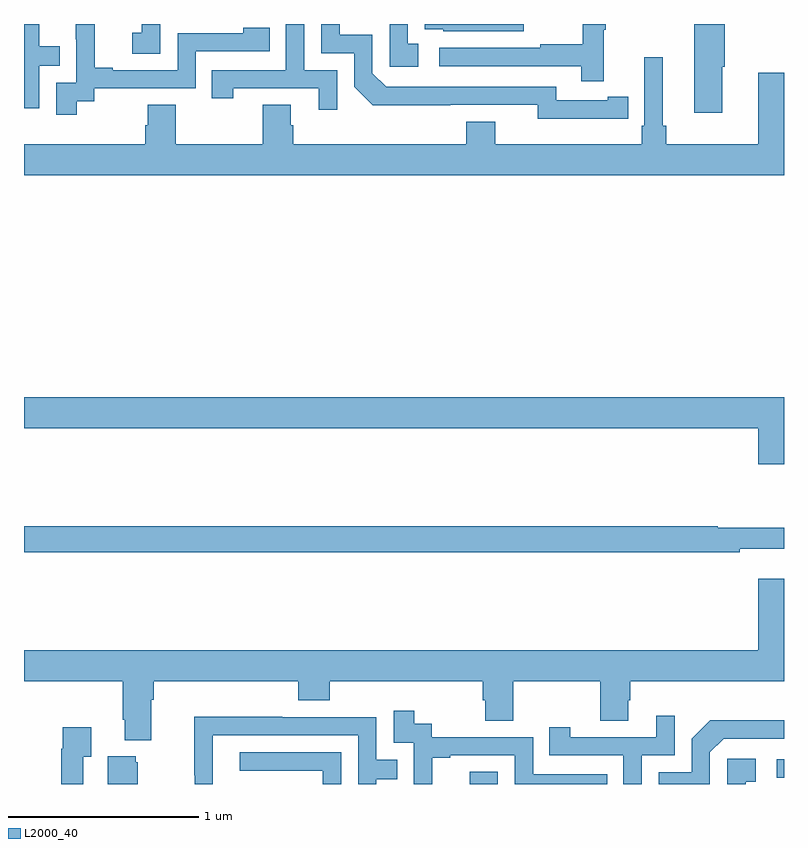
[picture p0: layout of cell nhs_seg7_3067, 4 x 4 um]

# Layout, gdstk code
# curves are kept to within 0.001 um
import gdstk
lib = gdstk.Library(unit=1e-6, precision=1e-09)
def R(c, l, rs):  # rectangles x0, y0, x1, y1
    for r in rs: c.add(gdstk.rectangle(r[:2], r[2:], *l))
def P(c, l, *ps):  # polygons
    for p in ps: c.add(gdstk.Polygon(p, *l))
L2000_40 = (2000, 40)

nhs_seg7_3067 = lib.new_cell('nhs_seg7_3067')
R(nhs_seg7_3067, L2000_40, [(307.347,1076,307.494,1076.065), (308.961,1076.034,309,1076.13)])
P(nhs_seg7_3067, L2000_40, [(308.051,1079.971),(308.062,1079.971),(308.062,1080),(307.941,1080),(307.941,1079.894),(307.717,1079.894),(307.717,1079.874),(307.185,1079.874),(307.185,1079.778),(307.933,1079.778),(307.933,1079.7),(308.051,1079.7)],
  [(308.674,1079.775),(308.687,1079.775),(308.687,1080),(308.528,1080),(308.528,1079.532),(308.674,1079.532)],
  [(307.63,1080),(307.109,1080),(307.109,1079.972),(307.206,1079.972),(307.206,1079.963),(307.63,1079.963)],
  [(305.278,1079.593),(305.37,1079.593),(305.37,1079.661),(305.904,1079.661),(305.904,1079.856),(306.293,1079.856),(306.293,1079.979),(306.153,1079.979),(306.153,1079.952),(305.808,1079.952),(305.808,1079.757),(305.467,1079.757),(305.467,1079.77),(305.372,1079.77),(305.372,1080),(305.273,1080),(305.273,1079.921),(305.274,1079.921),(305.274,1079.691),(305.169,1079.691),(305.169,1079.523),(305.278,1079.523)],
  [(308.072,1079.502),(308.18,1079.502),(308.18,1079.618),(308.072,1079.618),(308.072,1079.598),(307.8,1079.598),(307.8,1079.67),(306.906,1079.67),(306.834,1079.742),(306.834,1079.943),(306.661,1079.943),(306.661,1080),(306.564,1080),(306.564,1079.847),(306.738,1079.847),(306.738,1079.67),(306.836,1079.573),(307.704,1079.574),(307.704,1079.501)],
  [(306.648,1079.757),(306.474,1079.757),(306.474,1080),(306.378,1080),(306.378,1079.757),(305.989,1079.757),(305.989,1079.61),(306.1,1079.61),(306.1,1079.661),(306.551,1079.661),(306.551,1079.55),(306.648,1079.55)],
  [(305.079,1079.781),(305.189,1079.781),(305.189,1079.882),(305.079,1079.882),(305.079,1080),(305,1080),(305,1079.556),(305.079,1079.556)],
  [(307.075,1079.895),(307.02,1079.895),(307.02,1080),(306.924,1080),(306.924,1079.775),(307.075,1079.775)],
  [(305.718,1080),(305.62,1080),(305.62,1079.953),(305.571,1079.953),(305.571,1079.844),(305.718,1079.844)],
  [(309,1079.743),(308.864,1079.743),(308.864,1079.368),(308.381,1079.368),(308.381,1079.464),(308.362,1079.464),(308.362,1079.824),(308.265,1079.824),(308.265,1079.464),(308.252,1079.464),(308.252,1079.368),(307.48,1079.368),(307.48,1079.485),(307.328,1079.485),(307.328,1079.368),(306.416,1079.368),(306.416,1079.466),(306.403,1079.466),(306.403,1079.576),(306.256,1079.576),(306.256,1079.368),(305.799,1079.368),(305.799,1079.576),(305.651,1079.576),(305.651,1079.466),(305.639,1079.466),(305.639,1079.368),(305,1079.368),(305,1079.204),(309,1079.204)],
  [(309,1078.036),(305,1078.036),(305,1077.872),(308.864,1077.872),(308.864,1077.684),(309,1077.684)],
  [(308.768,1077.239),(309,1077.239),(309,1077.349),(308.65,1077.349),(308.65,1077.356),(305,1077.356),(305,1077.22),(308.768,1077.22)],
  [(305.671,1076.444),(305.684,1076.444),(305.684,1076.54),(306.443,1076.54),(306.443,1076.441),(306.608,1076.441),(306.608,1076.54),(307.415,1076.54),(307.415,1076.442),(307.427,1076.442),(307.427,1076.332),(307.575,1076.332),(307.575,1076.54),(308.032,1076.54),(308.032,1076.332),(308.179,1076.332),(308.179,1076.442),(308.192,1076.442),(308.192,1076.54),(309,1076.54),(309,1077.079),(308.864,1077.079),(308.864,1076.704),(305,1076.704),(305,1076.54),(305.519,1076.54),(305.519,1076.338),(305.531,1076.338),(305.531,1076.231),(305.671,1076.231)],
  [(307.148,1076.139),(307.243,1076.139),(307.243,1076.151),(307.584,1076.151),(307.584,1076),(308.069,1076),(308.069,1076.052),(307.68,1076.052),(307.68,1076.247),(307.146,1076.247),(307.146,1076.316),(307.054,1076.316),(307.054,1076.386),(306.945,1076.386),(306.945,1076.217),(307.05,1076.217),(307.05,1076),(307.148,1076)],
  [(308.25,1076.151),(308.424,1076.151),(308.424,1076.359),(308.327,1076.359),(308.327,1076.247),(307.876,1076.247),(307.876,1076.299),(307.765,1076.299),(307.765,1076.151),(308.154,1076.151),(308.154,1076),(308.25,1076)],
  [(305.994,1076.256),(306.759,1076.256),(306.759,1076),(306.855,1076),(306.855,1076.026),(306.965,1076.026),(306.965,1076.127),(306.855,1076.127),(306.855,1076.352),(306.359,1076.352),(306.359,1076.354),(305.896,1076.354),(305.896,1076.047),(305.898,1076.047),(305.898,1076),(305.994,1076)],
  [(308.61,1076.166),(308.682,1076.238),(309,1076.238),(309,1076.336),(308.612,1076.336),(308.514,1076.238),(308.514,1076.061),(308.34,1076.061),(308.34,1076),(308.61,1076)],
  [(305.313,1076.143),(305.353,1076.143),(305.353,1076.299),(305.205,1076.299),(305.205,1076.186),(305.197,1076.186),(305.197,1076),(305.313,1076)],
  [(306.669,1076.166),(306.135,1076.166),(306.135,1076.07),(306.573,1076.07),(306.573,1076),(306.669,1076)],
  [(305.599,1076.115),(305.588,1076.115),(305.588,1076.146),(305.441,1076.146),(305.441,1076),(305.599,1076)],
  [(308.798,1076.013),(308.851,1076.013),(308.851,1076.134),(308.7,1076.134),(308.7,1076),(308.798,1076)])

lib.write_gds('nhs_seg7_3067.gds')
